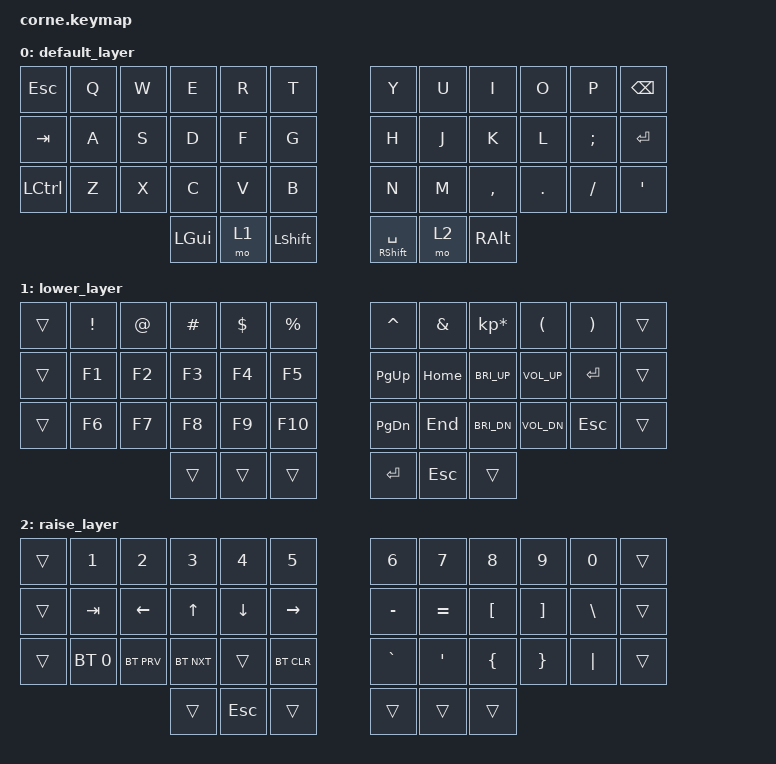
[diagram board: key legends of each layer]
/*
 * Copyright (c) 2020 The ZMK Contributors
 *
 * SPDX-License-Identifier: MIT
 */

#include <behaviors.dtsi>
#include <dt-bindings/zmk/bt.h>
#include <dt-bindings/zmk/keys.h>

/ {
    behaviors {
        spacebar_behavior: spacebar_behavior {
            compatible = "zmk,behavior-hold-tap";
            label = "SPACEBAR_BEHAVIOR";
            bindings = <&kp>, <&kp>;

            #binding-cells = <2>;
            tapping-term-ms = <280>;
            quick-tap-ms = <175>;
            require-prior-idle-ms = <150>;
            flavor = "balanced";
            hold-trigger-on-release;
            hold-trigger-key-positions = <38 39>;
        };
    };

    keymap {
        compatible = "zmk,keymap";

        default_layer {
            bindings = <
&kp ESC    &kp Q  &kp W  &kp E     &kp R  &kp T           &kp Y                  &kp U  &kp I      &kp O    &kp P     &kp BSPC
&kp TAB    &kp A  &kp S  &kp D     &kp F  &kp G           &kp H                  &kp J  &kp K      &kp L    &kp SEMI  &kp ENTER
&kp LCTRL  &kp Z  &kp X  &kp C     &kp V  &kp B           &kp N                  &kp M  &kp COMMA  &kp DOT  &kp FSLH  &kp SQT
                         &kp LGUI  &mo 1  &kp LEFT_SHIFT  &mt RIGHT_SHIFT SPACE  &mo 2  &kp RALT
            >;
        };

        lower_layer {
            bindings = <
&trans  &kp EXCL  &kp AT  &kp HASH  &kp DLLR  &kp PRCNT  &kp CARET      &kp AMPS  &kp KP_MULTIPLY  &kp LPAR      &kp RPAR   &trans
&trans  &kp F1    &kp F2  &kp F3    &kp F4    &kp F5     &kp PAGE_UP    &kp HOME  &kp C_BRI_UP     &kp C_VOL_UP  &kp ENTER  &trans
&trans  &kp F6    &kp F7  &kp F8    &kp F9    &kp F10    &kp PAGE_DOWN  &kp END   &kp C_BRI_DN     &kp C_VOL_DN  &kp ESC    &trans
                          &trans    &trans    &trans     &kp ENTER      &kp ESC   &trans
            >;
        };

        raise_layer {
            bindings = <
&trans  &kp N1        &kp N2      &kp N3      &kp N4    &kp N5      &kp N6     &kp N7            &kp N8    &kp N9    &kp N0    &trans
&trans  &kp TAB       &kp LEFT    &kp UP      &kp DOWN  &kp RIGHT   &kp MINUS  &kp EQUAL         &kp LBKT  &kp RBKT  &kp BSLH  &trans
&trans  &bt BT_SEL 0  &bt BT_PRV  &bt BT_NXT  &trans    &bt BT_CLR  &kp GRAVE  &kp SINGLE_QUOTE  &kp LBRC  &kp RBRC  &kp PIPE  &trans
                                  &trans      &kp ESC   &trans      &trans     &trans            &trans
            >;
        };
    };
};
